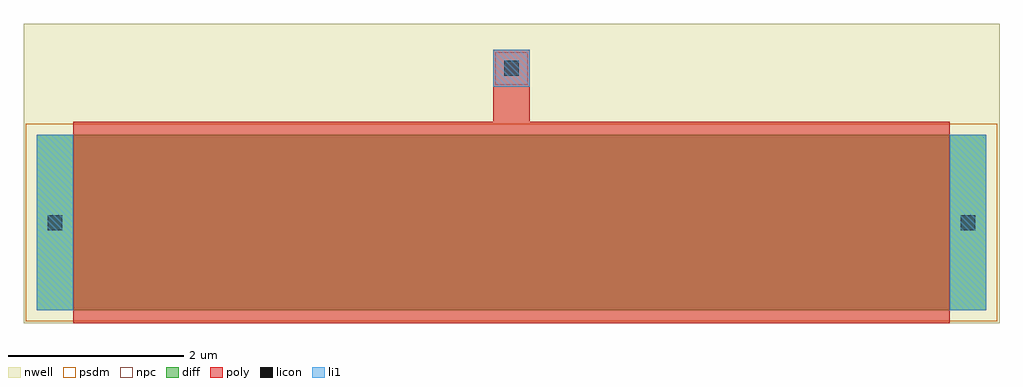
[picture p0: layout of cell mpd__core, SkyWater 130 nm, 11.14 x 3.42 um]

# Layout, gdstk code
import gdstk
lib = gdstk.Library(unit=1e-6, precision=1e-09)
def R(c, l, rs):  # rectangles x0, y0, x1, y1
    for r in rs: c.add(gdstk.rectangle(r[:2], r[2:], *l))
nwell = (64, 20)
diff = (65, 20)
poly = (66, 20)
licon = (66, 44)
li1 = (67, 20)
psdm = (94, 20)
npc = (95, 20)

mpd__core = lib.new_cell('mpd__core')
R(mpd__core, nwell, [(-0.15,-0.15,10.99,3.27)])
R(mpd__core, diff, [(0,0,10.84,2)])
R(mpd__core, poly, [(0.42,-0.15,10.42,2), (0.42,2,10.42,2.15), (0.42,2,10.42,2.15), (5.21,2.15,5.63,2.97)])
R(mpd__core, licon, [(0.125,0.915,0.295,1.085), (10.545,0.915,10.715,1.085), (5.335,2.675,5.505,2.845)])
R(mpd__core, li1, [(0,0,0.42,2), (10.42,0,10.84,2), (5.21,2.55,5.63,2.97)])
R(mpd__core, psdm, [(-0.125,-0.125,10.965,2.125)])
R(mpd__core, npc, [(5.235,2.575,5.605,2.945)])

lib.write_gds('mpd__core.gds')
